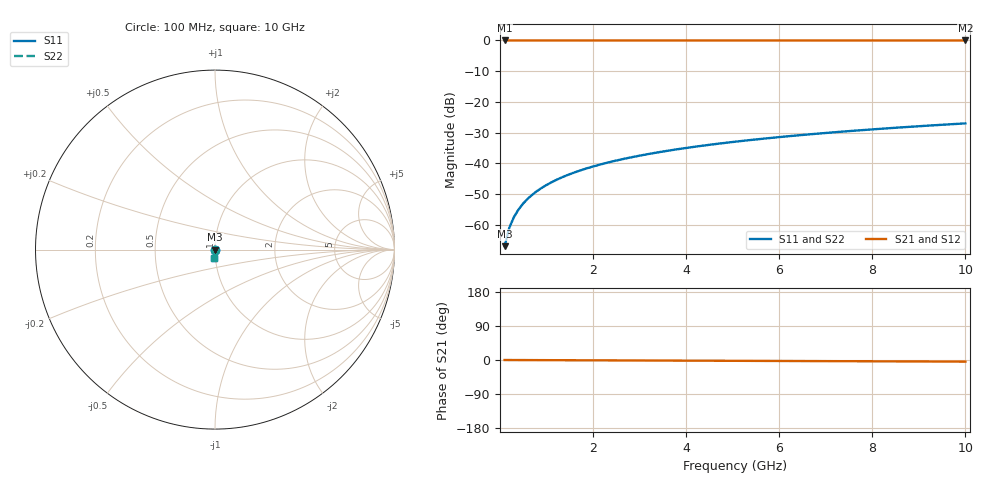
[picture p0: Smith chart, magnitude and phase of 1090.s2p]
# Hz S RI R 50.00
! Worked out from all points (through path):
!   100 points, 100 MHz to 10 GHz, reference 50 ohm
!   highest |S21| = 0.00 dB at 100 MHz (marker M1); lowest = 0.0 dB at 10 GHz (marker M2)
!   lowest |S11| = -67.0 dB at 100 MHz (marker M3), VSWR 1.00, Z = 50 - j0.0441 ohm
!   |S11| at or under -10 dB: start of sweep to end of sweep
!   |S22| runs from -67.0 to -27.0 dB; largest |S21 - S12| = 0
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1e8  5.58e-05 -0.000441  0.9999 -0.000741  0.9999 -0.000741  5.58e-05 -0.000441
2e8  5.46e-05 -0.000883  0.9999 -0.00148  0.9999 -0.00148  5.46e-05 -0.000883
3e8  5.27e-05 -0.00132  0.9999 -0.00222  0.9999 -0.00222  5.27e-05 -0.00132
4e8  5.01e-05 -0.00177  0.9999 -0.00296  0.9999 -0.00296  5.01e-05 -0.00177
5e8  4.68e-05 -0.00221  0.9999 -0.0037  0.9999 -0.0037  4.68e-05 -0.00221
6e8  4.28e-05 -0.00265  0.9999 -0.00445  0.9999 -0.00445  4.28e-05 -0.00265
7e8  3.81e-05 -0.00309  0.9999 -0.00519  0.9999 -0.00519  3.81e-05 -0.00309
8e8  3.28e-05 -0.00353  0.9999 -0.00593  0.9999 -0.00593  3.28e-05 -0.00353
9e8  2.68e-05 -0.00397  0.9999 -0.00667  0.9999 -0.00667  2.68e-05 -0.00397
1.1e9  1.29e-05 -0.00486  0.9999 -0.00815  0.9999 -0.00815  1.29e-05 -0.00486
1.4e9  -1.31e-05 -0.00618  0.9999 -0.0104  0.9999 -0.0104  -1.31e-05 -0.00618
1.8e9  -5.69e-05 -0.00795  0.9998 -0.0133  0.9998 -0.0133  -5.69e-05 -0.00795
2.1e9  -9.67e-05 -0.00928  0.9998 -0.0156  0.9998 -0.0156  -9.67e-05 -0.00928
2.5e9  -0.000159 -0.0111  0.9997 -0.0185  0.9997 -0.0185  -0.000159 -0.0111
2.9e9  -0.000232 -0.0128  0.9996 -0.0215  0.9996 -0.0215  -0.000232 -0.0128
3.4e9  -0.000338 -0.015  0.9995 -0.0252  0.9995 -0.0252  -0.000338 -0.015
4.2e9  -0.000543 -0.0186  0.9993 -0.0312  0.9993 -0.0312  -0.000543 -0.0186
5.1e9  -0.000824 -0.0226  0.9989 -0.0379  0.9989 -0.0379  -0.000824 -0.0226
5.9e9  -0.00112 -0.0261  0.9986 -0.0439  0.9986 -0.0439  -0.00112 -0.0261
6.7e9  -0.00146 -0.0297  0.9982 -0.0499  0.9982 -0.0499  -0.00146 -0.0297
8.4e9  -0.00232 -0.0373  0.9972 -0.0626  0.9972 -0.0626  -0.00232 -0.0373
1e10  -0.00332 -0.0444  0.9961 -0.0746  0.9961 -0.0746  -0.00332 -0.0444
